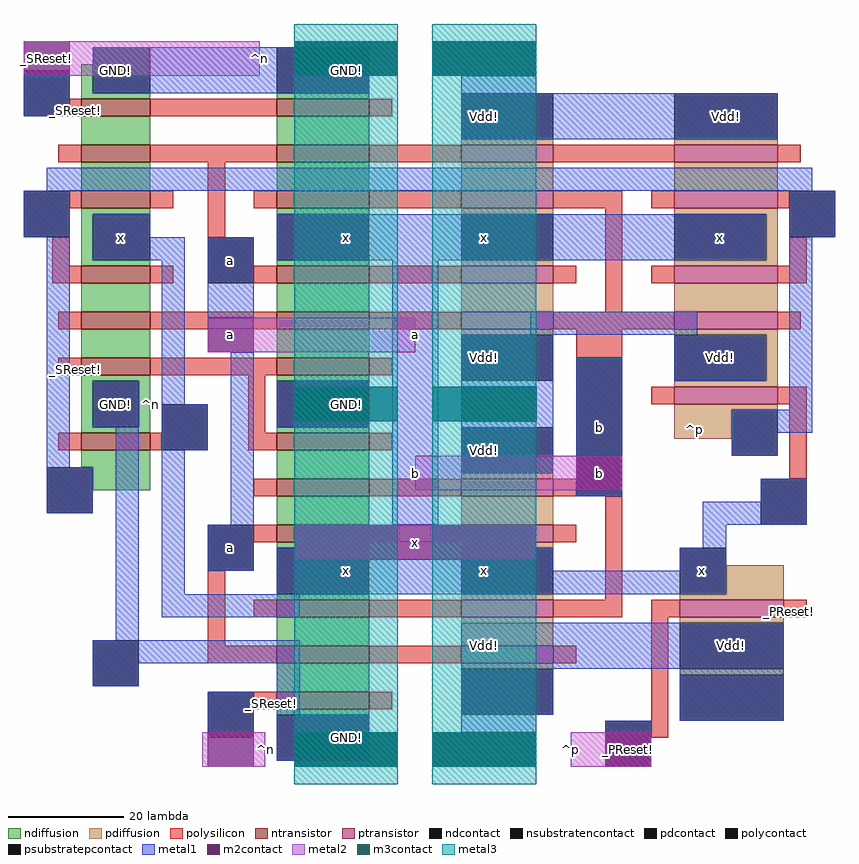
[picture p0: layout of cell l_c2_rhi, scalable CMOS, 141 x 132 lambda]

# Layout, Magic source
magic
tech scmos
<< ndiffusion >>
rect -58 60 -56 65
rect -58 59 -46 60
rect -24 59 -8 60
rect -58 51 -46 56
rect -24 51 -8 56
rect -58 43 -46 48
rect -58 39 -46 40
rect -58 31 -56 39
rect -58 30 -46 31
rect -24 43 -8 48
rect -24 39 -8 40
rect -24 30 -8 31
rect -58 22 -46 27
rect -24 22 -8 27
rect -58 14 -46 19
rect -24 14 -8 19
rect -58 10 -46 11
rect -58 2 -56 10
rect -48 2 -46 10
rect -58 1 -46 2
rect -24 10 -8 11
rect -24 1 -8 2
rect -58 -5 -46 -2
rect -56 -9 -46 -5
rect -24 -7 -8 -2
rect -24 -15 -8 -10
rect -24 -19 -8 -18
rect -24 -28 -8 -27
rect -24 -36 -8 -31
rect -24 -44 -8 -39
rect -24 -48 -8 -47
<< pdiffusion >>
rect 8 51 24 52
rect 45 51 63 52
rect 8 43 24 48
rect 45 43 63 48
rect 8 39 24 40
rect 8 30 24 31
rect 8 22 24 27
rect 45 39 63 40
rect 61 31 63 39
rect 45 30 63 31
rect 45 22 63 27
rect 8 18 24 19
rect 8 -7 24 -6
rect 45 18 63 19
rect 61 10 63 18
rect 45 9 63 10
rect 45 5 63 6
rect 45 0 55 5
rect 8 -15 24 -10
rect 8 -19 24 -18
rect 8 -28 24 -27
rect 54 -27 64 -22
rect 46 -28 64 -27
rect 8 -36 24 -31
rect 8 -40 24 -39
rect 46 -32 64 -31
rect 46 -41 64 -40
<< ntransistor >>
rect -58 56 -46 59
rect -24 56 -8 59
rect -58 48 -46 51
rect -24 48 -8 51
rect -58 40 -46 43
rect -24 40 -8 43
rect -58 27 -46 30
rect -24 27 -8 30
rect -58 19 -46 22
rect -24 19 -8 22
rect -58 11 -46 14
rect -24 11 -8 14
rect -58 -2 -46 1
rect -24 -2 -8 1
rect -24 -10 -8 -7
rect -24 -18 -8 -15
rect -24 -31 -8 -28
rect -24 -39 -8 -36
rect -24 -47 -8 -44
<< ptransistor >>
rect 8 48 24 51
rect 45 48 63 51
rect 8 40 24 43
rect 45 40 63 43
rect 8 27 24 30
rect 45 27 63 30
rect 8 19 24 22
rect 45 19 63 22
rect 8 -10 24 -7
rect 45 6 63 9
rect 8 -18 24 -15
rect 8 -31 24 -28
rect 46 -31 64 -28
rect 8 -39 24 -36
<< polysilicon >>
rect -60 56 -58 59
rect -46 56 -24 59
rect -8 56 -4 59
rect -62 48 -58 51
rect -46 48 -24 51
rect -8 48 8 51
rect 24 48 45 51
rect 63 48 67 51
rect -60 40 -58 43
rect -46 40 -42 43
rect -63 30 -60 35
rect -36 35 -33 48
rect -28 40 -24 43
rect -8 40 8 43
rect 24 40 36 43
rect 41 40 45 43
rect 63 40 65 43
rect -63 27 -58 30
rect -46 27 -42 30
rect -28 27 -24 30
rect -8 27 8 30
rect 24 27 28 30
rect 33 22 36 40
rect 65 30 68 35
rect 41 27 45 30
rect 63 27 68 30
rect -62 19 -58 22
rect -46 19 -24 22
rect -8 19 8 22
rect 24 19 45 22
rect 63 19 67 22
rect -62 11 -58 14
rect -46 11 -24 14
rect -8 11 -4 14
rect -62 -2 -58 1
rect -46 -2 -44 1
rect -29 1 -26 11
rect 28 14 36 19
rect -29 -2 -24 1
rect -8 -2 -4 1
rect -28 -10 -24 -7
rect -8 -10 8 -7
rect 24 -10 28 -7
rect 41 6 45 9
rect 63 6 68 9
rect 65 -7 68 6
rect -28 -18 -24 -15
rect -8 -18 8 -15
rect 24 -18 28 -15
rect -36 -36 -33 -23
rect 33 -28 36 -10
rect -28 -31 -24 -28
rect -8 -31 8 -28
rect 24 -31 36 -28
rect 41 -31 46 -28
rect 64 -31 68 -28
rect -36 -39 -24 -36
rect -8 -39 8 -36
rect 24 -39 28 -36
rect -28 -47 -24 -44
rect -8 -47 -4 -44
rect 41 -52 44 -31
<< ndcontact >>
rect -56 60 -46 68
rect -24 60 -8 68
rect -56 31 -46 39
rect -24 31 -8 39
rect -56 2 -48 10
rect -24 2 -8 10
rect -64 -13 -56 -5
rect -24 -27 -8 -19
rect -24 -56 -8 -48
<< pdcontact >>
rect 8 52 24 60
rect 45 52 63 60
rect 8 31 24 39
rect 45 31 61 39
rect 8 10 24 18
rect 8 -6 24 2
rect 45 10 61 18
rect 55 -3 63 5
rect 8 -27 24 -19
rect 46 -27 54 -19
rect 8 -48 24 -40
rect 46 -40 64 -32
<< psubstratepcontact >>
rect -56 -43 -48 -35
<< nsubstratencontact >>
rect 46 -49 64 -41
<< polycontact >>
rect -68 56 -60 64
rect -68 35 -60 43
rect -36 27 -28 35
rect 65 35 73 43
rect -44 -2 -36 6
rect 28 -10 36 14
rect -36 -23 -28 -15
rect 60 -15 68 -7
rect -36 -52 -28 -44
rect 33 -57 41 -49
<< metal1 >>
rect -68 56 -60 63
rect -56 63 -21 68
rect -56 60 -8 63
rect 8 60 21 63
rect 8 52 63 60
rect -64 43 69 47
rect -68 35 -60 43
rect -64 -5 -60 35
rect -56 35 -46 39
rect -56 31 -40 35
rect -56 2 -48 10
rect -64 -13 -56 -5
rect -52 -35 -48 2
rect -44 6 -40 31
rect -36 21 -28 35
rect -24 31 61 39
rect 65 35 73 43
rect -44 -2 -36 6
rect -44 -27 -40 -2
rect -32 -15 -28 15
rect -24 9 -8 10
rect -24 3 -21 9
rect -24 2 -8 3
rect -4 -15 4 31
rect 20 18 49 22
rect 8 9 24 18
rect 21 3 24 9
rect 8 -6 24 3
rect 28 -3 36 14
rect 45 10 61 18
rect 65 5 69 35
rect 55 1 69 5
rect 55 -3 63 1
rect 28 -10 36 -9
rect 60 -11 68 -7
rect 50 -15 68 -11
rect -36 -23 -28 -15
rect -24 -21 -21 -19
rect 50 -19 54 -15
rect 21 -21 24 -19
rect -24 -23 24 -21
rect 46 -23 54 -19
rect -24 -27 54 -23
rect -44 -31 -20 -27
rect -56 -39 -20 -35
rect -56 -43 -48 -39
rect -36 -51 -28 -44
rect -24 -48 -20 -39
rect 8 -40 64 -32
rect 8 -48 24 -40
rect -24 -51 -8 -48
rect 8 -51 21 -48
rect 46 -49 64 -40
rect -24 -56 -21 -51
rect 33 -51 41 -49
<< m2contact >>
rect -68 63 -60 69
rect -21 63 -3 69
rect 3 63 21 69
rect -36 15 -28 21
rect -21 3 -8 9
rect 8 3 21 9
rect 28 -9 36 -3
rect -21 -21 21 -15
rect -36 -57 -28 -51
rect -21 -57 -3 -51
rect 3 -57 21 -51
rect 33 -57 41 -51
<< metal2 >>
rect -68 63 -27 69
rect -36 15 0 21
rect 0 -9 36 -3
rect -21 -21 21 -15
rect -37 -57 -26 -51
rect 27 -57 41 -51
<< m3contact >>
rect -21 63 -3 69
rect 3 63 21 69
rect -21 3 -3 9
rect 3 3 21 9
rect -21 -57 -3 -51
rect 3 -57 21 -51
<< metal3 >>
rect -21 -60 -3 72
rect 3 -60 21 72
<< labels >>
rlabel metal2 32 -6 32 -6 1 b
rlabel metal2 -32 18 -32 18 1 a
rlabel metal1 32 2 32 2 1 b
rlabel space 23 -58 74 61 3 ^p
rlabel metal2 27 -57 27 -51 7 ^p
rlabel metal2 -26 -57 -26 -51 3 ^n
rlabel metal2 -27 63 -27 69 3 ^n
rlabel space -69 -58 -23 70 7 ^n
rlabel metal2 -64 66 -64 66 3 _SReset!
rlabel metal2 -32 -54 -32 -54 1 _SReset!
rlabel metal2 37 -54 37 -54 1 _PReset!
rlabel metal1 12 -36 12 -36 1 Vdd!
rlabel metal1 50 -23 50 -23 1 x
rlabel metal1 55 -36 55 -36 1 Vdd!
rlabel polysilicon 65 -30 65 -30 1 _PReset!
rlabel metal2 0 15 0 21 7 a
rlabel metal2 0 -18 0 -18 1 x
rlabel metal2 0 -9 0 -3 3 b
rlabel metal1 54 56 54 56 5 Vdd!
rlabel metal1 53 35 53 35 5 x
rlabel metal1 53 14 53 14 1 Vdd!
rlabel metal1 -51 35 -51 35 1 x
rlabel metal1 -32 -19 -32 -19 1 a
rlabel metal1 -32 31 -32 31 1 a
rlabel metal1 -52 6 -52 6 1 GND!
rlabel metal1 -52 64 -52 64 5 GND!
rlabel polysilicon -59 12 -59 12 1 _SReset!
rlabel polysilicon -59 57 -59 57 1 _SReset!
rlabel polysilicon -25 -46 -25 -46 1 _SReset!
rlabel metal1 12 -2 12 -2 1 Vdd!
rlabel metal1 12 14 12 14 1 Vdd!
rlabel m2contact -12 -52 -12 -52 1 GND!
rlabel metal1 12 -23 12 -23 1 x
rlabel metal1 -12 -23 -12 -23 1 x
rlabel m2contact -12 6 -12 6 1 GND!
rlabel m2contact -12 64 -12 64 5 GND!
rlabel metal1 12 56 12 56 5 Vdd!
rlabel metal1 12 35 12 35 1 x
rlabel metal1 -12 35 -12 35 1 x
<< end >>
